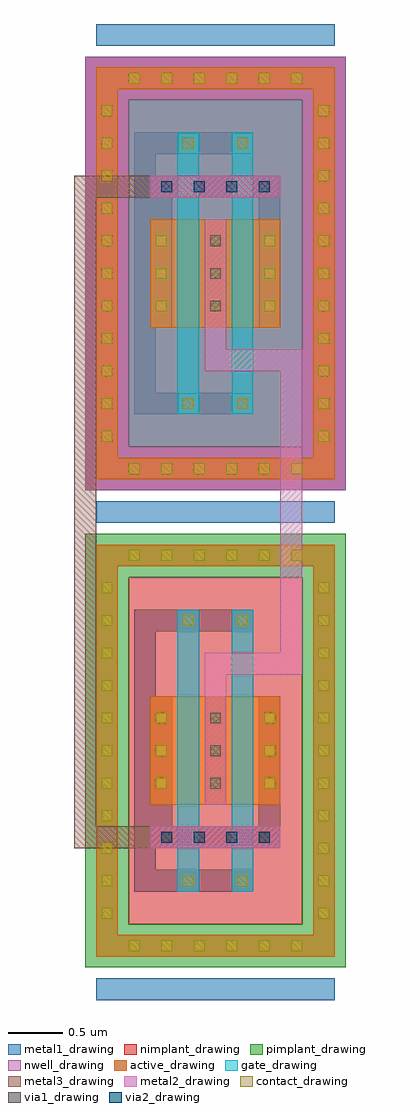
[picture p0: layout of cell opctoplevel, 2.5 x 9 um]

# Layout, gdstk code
import gdstk
lib = gdstk.Library(unit=1e-6, precision=1e-09)
def R(c, l, rs):  # rectangles x0, y0, x1, y1
    for r in rs: c.add(gdstk.rectangle(r[:2], r[2:], *l))
def A(c, l, x, y, w, h, nx, ny, dx, dy):  # array of equal rectangles
    R(c, l, [(x+i*dx, y+j*dy, x+i*dx+w, y+j*dy+h) for i in range(nx) for j in range(ny)])
def P(c, l, *ps):  # polygons
    for p in ps: c.add(gdstk.Polygon(p, *l))
active_drawing = (1, 0)
nwell_drawing = (3, 0)
pimplant_drawing = (4, 0)
nimplant_drawing = (5, 0)
gate_drawing = (6, 0)
contact_drawing = (7, 0)
metal1_drawing = (8, 0)
via1_drawing = (9, 0)
metal2_drawing = (10, 0)
via2_drawing = (11, 0)
metal3_drawing = (12, 0)

opctoplevel = lib.new_cell('opctoplevel')
R(opctoplevel, active_drawing, [(-0.5,-1.4,1.7,-1.2), (-0.5,-1.4,-0.3,2.4), (1.5,-1.4,1.7,2.4), (0,0,1.2,1), (-0.5,2.2,1.7,2.4), (-0.5,3,1.7,3.2), (-0.5,3,-0.3,6.8), (1.5,3,1.7,6.8), (0,4.4,1.2,5.4), (-0.5,6.6,1.7,6.8)])
R(opctoplevel, nwell_drawing, [(-0.6,2.9,1.8,6.9)])
R(opctoplevel, pimplant_drawing, [(-0.6,-1.5,1.8,-1.1), (-0.6,-1.5,-0.2,2.5), (1.4,-1.5,1.8,2.5), (-0.6,2.1,1.8,2.5), (-0.2,3.3,1.4,6.5)])
R(opctoplevel, nimplant_drawing, [(-0.2,-1.1,1.4,2.1), (-0.6,2.9,1.8,3.3), (-0.6,2.9,-0.2,6.9), (1.4,2.9,1.8,6.9), (-0.6,6.5,1.8,6.9)])
R(opctoplevel, gate_drawing, [(0.25,-0.8,0.45,1.8), (0.25,-0.8,0.45,-0.6), (0.75,-0.8,0.95,1.8), (0.75,-0.8,0.95,-0.6), (0.25,1.6,0.45,1.8), (0.75,1.6,0.95,1.8), (0.25,3.6,0.45,6.2), (0.25,3.6,0.45,3.8), (0.75,3.6,0.95,6.2), (0.75,3.6,0.95,3.8), (0.25,6,0.45,6.2), (0.75,6,0.95,6.2)])
A(opctoplevel, contact_drawing, -0.2, -1.35, 0.1, 0.1, 6, 2, 0.3, 3.6)
A(opctoplevel, contact_drawing, -0.45, -1.05, 0.1, 0.1, 1, 4, 0, 0.3)
A(opctoplevel, contact_drawing, 1.55, -1.05, 0.1, 0.1, 1, 4, 0, 0.3)
A(opctoplevel, contact_drawing, -0.45, 0.15, 0.1, 0.1, 5, 3, 0.5, 0.3)
A(opctoplevel, contact_drawing, -0.45, 1.05, 0.1, 0.1, 1, 4, 0, 0.3)
A(opctoplevel, contact_drawing, 1.55, 1.05, 0.1, 0.1, 1, 4, 0, 0.3)
A(opctoplevel, contact_drawing, -0.2, 3.05, 0.1, 0.1, 6, 2, 0.3, 3.6)
A(opctoplevel, contact_drawing, -0.45, 3.35, 0.1, 0.1, 1, 4, 0, 0.3)
A(opctoplevel, contact_drawing, 1.55, 3.35, 0.1, 0.1, 1, 4, 0, 0.3)
A(opctoplevel, contact_drawing, -0.45, 4.55, 0.1, 0.1, 5, 3, 0.5, 0.3)
A(opctoplevel, contact_drawing, -0.45, 5.45, 0.1, 0.1, 1, 4, 0, 0.3)
A(opctoplevel, contact_drawing, 1.55, 5.45, 0.1, 0.1, 1, 4, 0, 0.3)
R(opctoplevel, contact_drawing, [(0.3,-0.75,0.4,-0.65), (0.8,-0.75,0.9,-0.65), (0.3,1.65,0.4,1.75), (0.8,1.65,0.9,1.75), (0.3,3.65,0.4,3.75), (0.8,3.65,0.9,3.75), (0.3,6.05,0.4,6.15), (0.8,6.05,0.9,6.15)])
A(opctoplevel, metal1_drawing, 0, 0, 0.2, 1, 3, 2, 0.5, 4.4)
A(opctoplevel, metal1_drawing, -0.5, 2.2, 2.2, 0.2, 1, 3, 0, 0.4)
R(opctoplevel, metal1_drawing, [(-0.5,-1.8,1.7,-1.6), (-0.5,-1.4,1.7,-1.2), (-0.5,-1.4,-0.3,2.4), (1.5,-1.4,1.7,2.4), (0.25,-0.8,0.45,-0.6), (0.25,-0.8,0.95,-0.6), (0.75,-0.8,0.95,-0.6), (0,-0.4,1.2,-0.2), (0,-0.4,1.2,-0.2), (0,-0.2,0.2,0), (1,-0.2,1.2,0), (0.25,1.6,0.45,1.8), (0.25,1.6,0.95,1.8), (0.75,1.6,0.95,1.8), (-0.5,3,-0.3,6.8), (1.5,3,1.7,6.8), (0.25,3.6,0.45,3.8), (0.25,3.6,0.95,3.8), (0.75,3.6,0.95,3.8), (0,5.4,0.2,5.6), (1,5.4,1.2,5.6), (0,5.6,1.2,5.8), (0,5.6,1.2,5.8), (0.25,6,0.45,6.2), (0.25,6,0.95,6.2), (0.75,6,0.95,6.2), (-0.5,6.6,1.7,6.8), (-0.5,7,1.7,7.2)])
P(opctoplevel, metal1_drawing, [(0.25,-0.6),(0.05,-0.6),(0.05,1.6),(0.25,1.6),(0.25,1.8),(-0.15,1.8),(-0.15,-0.8),(0.25,-0.8)],
  [(0.25,3.8),(0.05,3.8),(0.05,6),(0.25,6),(0.25,6.2),(-0.15,6.2),(-0.15,3.6),(0.25,3.6)])
A(opctoplevel, via1_drawing, 0.1, -0.35, 0.1, 0.1, 4, 2, 0.3, 6)
A(opctoplevel, via1_drawing, 0.55, 0.15, 0.1, 0.1, 1, 3, 0, 0.3)
A(opctoplevel, via1_drawing, 0.55, 4.55, 0.1, 0.1, 1, 3, 0, 0.3)
R(opctoplevel, metal2_drawing, [(0,-0.4,1.2,-0.2), (0.5,0,0.7,1), (0.5,1,0.7,1.2), (0.5,1.2,0.7,1.4), (0.5,4,0.7,4.2), (0.5,4.2,0.7,4.4), (0.5,4.4,0.7,5.4), (0,5.6,1.2,5.8)])
P(opctoplevel, metal2_drawing, [(0.7,1.2),(1.4,1.2),(1.4,4.2),(0.7,4.2),(0.7,4),(1.2,4),(1.2,1.4),(0.7,1.4)])
A(opctoplevel, via2_drawing, 0.1, -0.35, 0.1, 0.1, 4, 2, 0.3, 6)
R(opctoplevel, metal3_drawing, [(0,-0.4,1.2,-0.2), (0,5.6,1.2,5.8)])
P(opctoplevel, metal3_drawing, [(0,-0.2),(-0.5,-0.2),(-0.5,5.6),(0,5.6),(0,5.8),(-0.7,5.8),(-0.7,-0.4),(0,-0.4)])

lib.write_gds('opctoplevel.gds')
